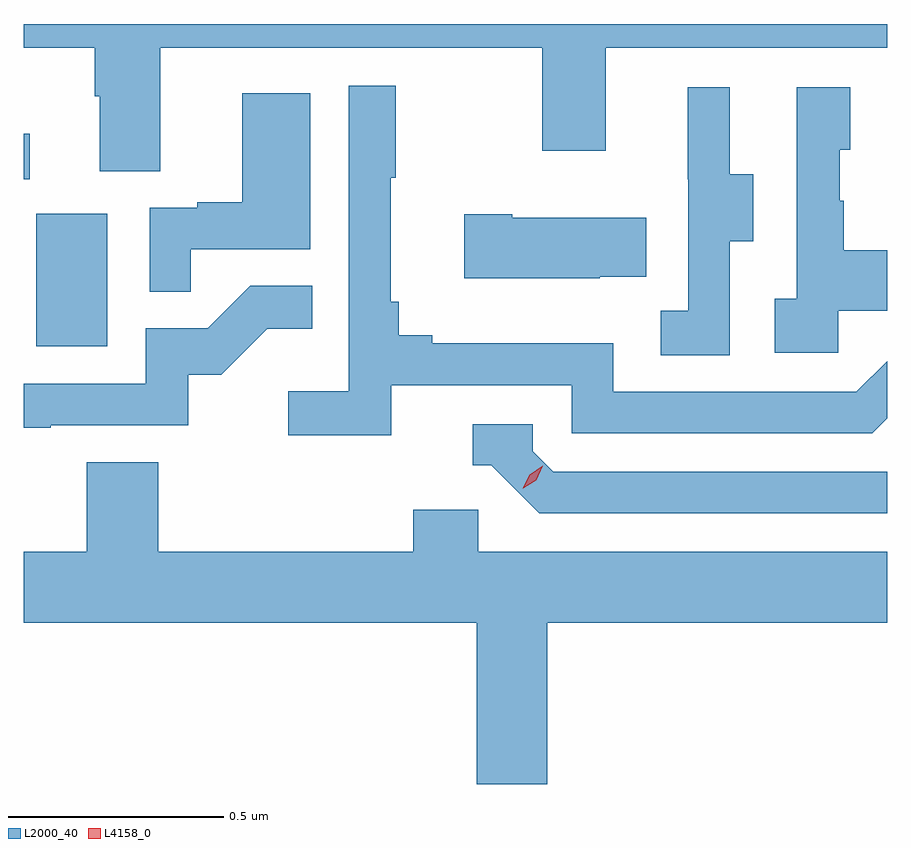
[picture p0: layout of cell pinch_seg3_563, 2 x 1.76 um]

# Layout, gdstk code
import gdstk
lib = gdstk.Library(unit=1e-6, precision=1e-09)
def R(c, l, rs):  # rectangles x0, y0, x1, y1
    for r in rs: c.add(gdstk.rectangle(r[:2], r[2:], *l))
def P(c, l, *ps):  # polygons
    for p in ps: c.add(gdstk.Polygon(p, *l))
L2000_40 = (2000, 40)
L4158_0 = (4158, 0)

pinch_seg3_563 = lib.new_cell('pinch_seg3_563')
R(pinch_seg3_563, L2000_40, [(1111.04,698.892,1111.204,699.199), (1111.011,699.279,1111.024,699.385)])
P(pinch_seg3_563, L2000_40, [(1111.327,699.584),(1112.212,699.584),(1112.212,699.345),(1112.359,699.345),(1112.359,699.584),(1113.011,699.584),(1113.011,699.639),(1111.011,699.639),(1111.011,699.584),(1111.175,699.584),(1111.175,699.472),(1111.187,699.472),(1111.187,699.298),(1111.327,699.298)],
  [(1111.862,698.802),(1112.28,698.802),(1112.28,698.691),(1112.977,698.691),(1113.011,698.725),(1113.011,698.858),(1112.94,698.787),(1112.376,698.787),(1112.376,698.899),(1111.957,698.899),(1111.957,698.918),(1111.88,698.918),(1111.88,698.995),(1111.861,698.995),(1111.861,699.283),(1111.873,699.283),(1111.873,699.496),(1111.764,699.496),(1111.764,698.788),(1111.623,698.788),(1111.623,698.686),(1111.862,698.686)],
  [(1112.646,699.136),(1112.701,699.136),(1112.701,699.291),(1112.647,699.291),(1112.647,699.493),(1112.549,699.493),(1112.549,699.279),(1112.55,699.279),(1112.55,698.975),(1112.487,698.975),(1112.487,698.872),(1112.646,698.872)],
  [(1112.898,698.975),(1113.011,698.975),(1113.011,699.115),(1112.911,699.115),(1112.911,699.23),(1112.901,699.23),(1112.901,699.348),(1112.926,699.348),(1112.926,699.493),(1112.802,699.493),(1112.802,699.002),(1112.751,699.002),(1112.751,698.877),(1112.898,698.877)],
  [(1111.397,699.117),(1111.675,699.117),(1111.675,699.478),(1111.517,699.478),(1111.517,699.226),(1111.413,699.226),(1111.413,699.213),(1111.302,699.213),(1111.302,699.019),(1111.397,699.019)],
  [(1112.345,699.053),(1112.453,699.053),(1112.453,699.19),(1112.143,699.19),(1112.143,699.198),(1112.031,699.198),(1112.031,699.05),(1112.345,699.05)],
  [(1111.073,698.709),(1111.392,698.709),(1111.392,698.826),(1111.468,698.826),(1111.575,698.933),(1111.679,698.933),(1111.679,699.032),(1111.535,699.032),(1111.437,698.934),(1111.293,698.934),(1111.293,698.805),(1111.011,698.805),(1111.011,698.704),(1111.073,698.704)],
  [(1113.011,698.601),(1112.238,698.601),(1112.19,698.649),(1112.19,698.712),(1112.051,698.712),(1112.051,698.616),(1112.094,698.616),(1112.205,698.505),(1113.011,698.505)],
  [(1112.224,698.252),(1113.011,698.252),(1113.011,698.416),(1112.064,698.416),(1112.064,698.514),(1111.913,698.514),(1111.913,698.416),(1111.322,698.416),(1111.322,698.624),(1111.157,698.624),(1111.157,698.416),(1111.011,698.416),(1111.011,698.252),(1112.06,698.252),(1112.06,697.878),(1112.224,697.878)])
P(pinch_seg3_563, L4158_0, [(1112.167,698.563),(1112.167,698.563),(1112.183,698.595),(1112.213,698.615),(1112.213,698.615),(1112.213,698.615),(1112.198,698.582),(1112.168,698.563)])

lib.write_gds('pinch_seg3_563.gds')
